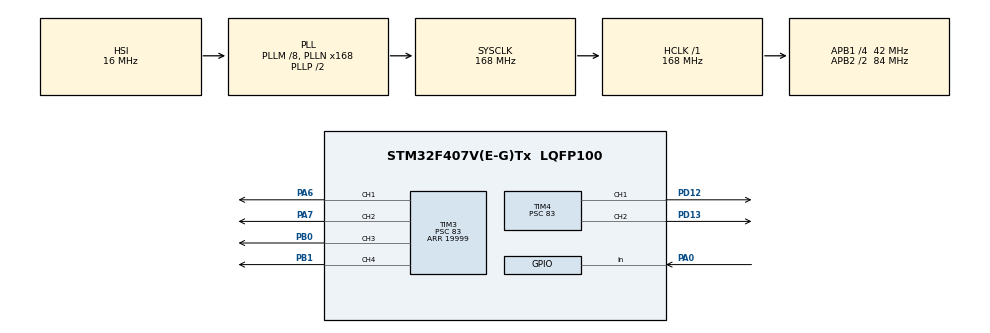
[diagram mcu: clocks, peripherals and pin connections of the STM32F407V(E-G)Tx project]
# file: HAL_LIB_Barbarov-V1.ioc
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Mcu.Family=STM32F4
Mcu.Name=STM32F407V(E-G)Tx
Mcu.Package=LQFP100
NVIC.PriorityGroup=NVIC_PRIORITYGROUP_4
PA0-WKUP.Signal=GPIO_Input
PA6.Signal=S_TIM3_CH1
PA7.Signal=S_TIM3_CH2
PB0.Signal=S_TIM3_CH3
PB1.Signal=S_TIM3_CH4
PD12.Signal=S_TIM4_CH1
PD13.Signal=S_TIM4_CH2
ProjectManager.HeapSize=0x200
ProjectManager.StackSize=0x400
ProjectManager.TargetToolchain=STM32CubeIDE
RCC.48MHZClocksFreq_Value=84000000
RCC.AHBFreq_Value=168000000
RCC.APB1CLKDivider=RCC_HCLK_DIV4
RCC.APB1Freq_Value=42000000
RCC.APB1TimFreq_Value=84000000
RCC.APB2CLKDivider=RCC_HCLK_DIV2
RCC.APB2Freq_Value=84000000
RCC.APB2TimFreq_Value=168000000
RCC.CortexFreq_Value=168000000
RCC.HCLKFreq_Value=168000000
RCC.HSE_VALUE=25000000
RCC.HSI_VALUE=16000000
RCC.LSE_VALUE=32768
RCC.PLLM=8
RCC.PLLN=168
RCC.SYSCLKFreq_VALUE=168000000
RCC.SYSCLKSource=RCC_SYSCLKSOURCE_PLLCLK
RCC.VCOOutputFreq_Value=336000000
SH.S_TIM3_CH1.0=TIM3_CH1,PWM Generation1 CH1
SH.S_TIM3_CH2.0=TIM3_CH2,PWM Generation2 CH2
SH.S_TIM3_CH3.0=TIM3_CH3,PWM Generation3 CH3
SH.S_TIM3_CH4.0=TIM3_CH4,PWM Generation4 CH4
SH.S_TIM4_CH1.0=TIM4_CH1,PWM Generation1 CH1
SH.S_TIM4_CH2.0=TIM4_CH2,PWM Generation2 CH2
TIM3.Channel-PWM\ Generation1\ CH1=TIM_CHANNEL_1
TIM3.Channel-PWM\ Generation2\ CH2=TIM_CHANNEL_2
TIM3.Channel-PWM\ Generation3\ CH3=TIM_CHANNEL_3
TIM3.Channel-PWM\ Generation4\ CH4=TIM_CHANNEL_4
TIM3.Period=19999
TIM3.Prescaler=83
TIM4.Channel-PWM\ Generation1\ CH1=TIM_CHANNEL_1
TIM4.Channel-PWM\ Generation2\ CH2=TIM_CHANNEL_2
TIM4.Period=19999
TIM4.Prescaler=83
board=custom

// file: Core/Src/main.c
/* USER CODE BEGIN Header */
/**
  ******************************************************************************
  * @file           : main.c
  * @brief          : Main program body
  ******************************************************************************
  * @attention
  *
  * Copyright (c) 2022 STMicroelectronics.
  * All rights reserved.
  *
  * This software is licensed under terms that can be found in the LICENSE file
  * in the root directory of this software component.
  * If no LICENSE file comes with this software, it is provided AS-IS.
  *
  ******************************************************************************
  */
/* USER CODE END Header */
#include "main.h"

TIM_HandleTypeDef htim3;
TIM_HandleTypeDef htim4;

/* USER CODE BEGIN PV */
uint8_t count;
/* USER CODE END PV */

void SystemClock_Config(void);
static void MX_GPIO_Init(void);
static void MX_TIM3_Init(void);
static void MX_TIM4_Init(void);

/* USER CODE BEGIN 0 */
void dur(){
	__HAL_TIM_SET_COMPARE(&htim3, TIM_CHANNEL_1, 1500);
	__HAL_TIM_SET_COMPARE(&htim3, TIM_CHANNEL_2, 1500);
	__HAL_TIM_SET_COMPARE(&htim3, TIM_CHANNEL_3, 1500);
	__HAL_TIM_SET_COMPARE(&htim3, TIM_CHANNEL_4, 1500);
	__HAL_TIM_SET_COMPARE(&htim4, TIM_CHANNEL_1, 1500);
	__HAL_TIM_SET_COMPARE(&htim4, TIM_CHANNEL_2, 1500);
}
void ileri(){
	__HAL_TIM_SET_COMPARE(&htim3, TIM_CHANNEL_1, 1400); // yanlış
	__HAL_TIM_SET_COMPARE(&htim3, TIM_CHANNEL_2, 1600);
	__HAL_TIM_SET_COMPARE(&htim3, TIM_CHANNEL_3, 1400);
	__HAL_TIM_SET_COMPARE(&htim3, TIM_CHANNEL_4, 1600); // yanlış
	__HAL_TIM_SET_COMPARE(&htim4, TIM_CHANNEL_1, 1500);
	__HAL_TIM_SET_COMPARE(&htim4, TIM_CHANNEL_2, 1500);
}
void geri(){
	__HAL_TIM_SET_COMPARE(&htim3, TIM_CHANNEL_1, 1600);
	__HAL_TIM_SET_COMPARE(&htim3, TIM_CHANNEL_2, 1400);
	__HAL_TIM_SET_COMPARE(&htim3, TIM_CHANNEL_3, 1600);
	__HAL_TIM_SET_COMPARE(&htim3, TIM_CHANNEL_4, 1400);
	__HAL_TIM_SET_COMPARE(&htim4, TIM_CHANNEL_1, 1500);
	__HAL_TIM_SET_COMPARE(&htim4, TIM_CHANNEL_2, 1500);
}
void yukari(){
	__HAL_TIM_SET_COMPARE(&htim3, TIM_CHANNEL_1, 1500);
	__HAL_TIM_SET_COMPARE(&htim3, TIM_CHANNEL_2, 1500);
	__HAL_TIM_SET_COMPARE(&htim3, TIM_CHANNEL_3, 1500);
	__HAL_TIM_SET_COMPARE(&htim3, TIM_CHANNEL_4, 1500);
	__HAL_TIM_SET_COMPARE(&htim4, TIM_CHANNEL_1, 1400); // yanlış
	__HAL_TIM_SET_COMPARE(&htim4, TIM_CHANNEL_2, 1400);
}
void asagi(){
	__HAL_TIM_SET_COMPARE(&htim3, TIM_CHANNEL_1, 1500);
	__HAL_TIM_SET_COMPARE(&htim3, TIM_CHANNEL_2, 1500);
	__HAL_TIM_SET_COMPARE(&htim3, TIM_CHANNEL_3, 1500);
	__HAL_TIM_SET_COMPARE(&htim3, TIM_CHANNEL_4, 1500);
	__HAL_TIM_SET_COMPARE(&htim4, TIM_CHANNEL_1, 1600); // yanlış
	__HAL_TIM_SET_COMPARE(&htim4, TIM_CHANNEL_2, 1400);
}
/* USER CODE END 0 */

int main(void)
{

  /* MCU Configuration--------------------------------------------------------*/

  /* Reset of all peripherals, Initializes the Flash interface and the Systick. */
  HAL_Init();

  /* Configure the system clock */
  SystemClock_Config();

  /* Initialize all configured peripherals */
  MX_GPIO_Init();
  MX_TIM3_Init();
  MX_TIM4_Init();
  /* USER CODE BEGIN 2 */
HAL_TIM_PWM_Start(&htim3, TIM_CHANNEL_1);
HAL_TIM_PWM_Start(&htim3, TIM_CHANNEL_2);
HAL_TIM_PWM_Start(&htim3, TIM_CHANNEL_3);
HAL_TIM_PWM_Start(&htim3, TIM_CHANNEL_4);
HAL_TIM_PWM_Start(&htim4, TIM_CHANNEL_1);
HAL_TIM_PWM_Start(&htim4, TIM_CHANNEL_2);
__HAL_TIM_SET_COMPARE(&htim3, TIM_CHANNEL_1, 1500);
__HAL_TIM_SET_COMPARE(&htim3, TIM_CHANNEL_2, 1500);
__HAL_TIM_SET_COMPARE(&htim3, TIM_CHANNEL_3, 1500);
__HAL_TIM_SET_COMPARE(&htim3, TIM_CHANNEL_4, 1500);
__HAL_TIM_SET_COMPARE(&htim4, TIM_CHANNEL_1, 1500);
__HAL_TIM_SET_COMPARE(&htim4, TIM_CHANNEL_2, 1500);
HAL_Delay(7000);
  /* USER CODE END 2 */

  /* Infinite loop */
  while (1)
  {

    /* USER CODE BEGIN 3 */
	  if(HAL_GPIO_ReadPin(GPIOA, GPIO_PIN_0))
	  {
		  while(HAL_GPIO_ReadPin(GPIOA, GPIO_PIN_0));
		  HAL_Delay(100);
		  count++;
	  }

	  if(count %8 == 0){
		  dur();
	  }
	  else if(count %8 == 1){
		  ileri();
	  }
	  else if(count %8 == 2){
		  dur();
	  }
	  else if (count %8 == 3){
		  geri();
	  }
	  else if (count %8 == 4){
		  dur();
	  }
	  else if(count %8 == 5){
		  yukari();
	  }
	  else if(count %8 == 6){
		  dur();
	  }
	  else if(count %8==7){
		  asagi();
	  }
  }
  /* USER CODE END 3 */
}

void SystemClock_Config(void)
{
  RCC_OscInitTypeDef RCC_OscInitStruct = {0};
  RCC_ClkInitTypeDef RCC_ClkInitStruct = {0};

  /** Configure the main internal regulator output voltage
  */
  __HAL_RCC_PWR_CLK_ENABLE();
  __HAL_PWR_VOLTAGESCALING_CONFIG(PWR_REGULATOR_VOLTAGE_SCALE1);
  /** Initializes the RCC Oscillators according to the specified parameters
  * in the RCC_OscInitTypeDef structure.
  */
  RCC_OscInitStruct.OscillatorType = RCC_OSCILLATORTYPE_HSI;
  RCC_OscInitStruct.HSIState = RCC_HSI_ON;
  RCC_OscInitStruct.HSICalibrationValue = RCC_HSICALIBRATION_DEFAULT;
  RCC_OscInitStruct.PLL.PLLState = RCC_PLL_ON;
  RCC_OscInitStruct.PLL.PLLSource = RCC_PLLSOURCE_HSI;
  RCC_OscInitStruct.PLL.PLLM = 8;
  RCC_OscInitStruct.PLL.PLLN = 168;
  RCC_OscInitStruct.PLL.PLLP = RCC_PLLP_DIV2;
  RCC_OscInitStruct.PLL.PLLQ = 4;
  if (HAL_RCC_OscConfig(&RCC_OscInitStruct) != HAL_OK)
  {
    Error_Handler();
  }
  /** Initializes the CPU, AHB and APB buses clocks
  */
  RCC_ClkInitStruct.ClockType = RCC_CLOCKTYPE_HCLK|RCC_CLOCKTYPE_SYSCLK
                              |RCC_CLOCKTYPE_PCLK1|RCC_CLOCKTYPE_PCLK2;
  RCC_ClkInitStruct.SYSCLKSource = RCC_SYSCLKSOURCE_PLLCLK;
  RCC_ClkInitStruct.AHBCLKDivider = RCC_SYSCLK_DIV1;
  RCC_ClkInitStruct.APB1CLKDivider = RCC_HCLK_DIV4;
  RCC_ClkInitStruct.APB2CLKDivider = RCC_HCLK_DIV2;

  if (HAL_RCC_ClockConfig(&RCC_ClkInitStruct, FLASH_LATENCY_5) != HAL_OK)
  {
    Error_Handler();
  }
}

static void MX_TIM3_Init(void)
{

  TIM_MasterConfigTypeDef sMasterConfig = {0};
  TIM_OC_InitTypeDef sConfigOC = {0};

  htim3.Instance = TIM3;
  htim3.Init.Prescaler = 83;
  htim3.Init.CounterMode = TIM_COUNTERMODE_UP;
  htim3.Init.Period = 19999;
  htim3.Init.ClockDivision = TIM_CLOCKDIVISION_DIV1;
  htim3.Init.AutoReloadPreload = TIM_AUTORELOAD_PRELOAD_DISABLE;
  if (HAL_TIM_PWM_Init(&htim3) != HAL_OK)
  {
    Error_Handler();
  }
  sMasterConfig.MasterOutputTrigger = TIM_TRGO_RESET;
  sMasterConfig.MasterSlaveMode = TIM_MASTERSLAVEMODE_DISABLE;
  if (HAL_TIMEx_MasterConfigSynchronization(&htim3, &sMasterConfig) != HAL_OK)
  {
    Error_Handler();
  }
  sConfigOC.OCMode = TIM_OCMODE_PWM1;
  sConfigOC.Pulse = 0;
  sConfigOC.OCPolarity = TIM_OCPOLARITY_HIGH;
  sConfigOC.OCFastMode = TIM_OCFAST_DISABLE;
  if (HAL_TIM_PWM_ConfigChannel(&htim3, &sConfigOC, TIM_CHANNEL_1) != HAL_OK)
  {
    Error_Handler();
  }
  if (HAL_TIM_PWM_ConfigChannel(&htim3, &sConfigOC, TIM_CHANNEL_2) != HAL_OK)
  {
    Error_Handler();
  }
  if (HAL_TIM_PWM_ConfigChannel(&htim3, &sConfigOC, TIM_CHANNEL_3) != HAL_OK)
  {
    Error_Handler();
  }
  if (HAL_TIM_PWM_ConfigChannel(&htim3, &sConfigOC, TIM_CHANNEL_4) != HAL_OK)
  {
    Error_Handler();
  }
  HAL_TIM_MspPostInit(&htim3);

}

static void MX_TIM4_Init(void)
{

  TIM_MasterConfigTypeDef sMasterConfig = {0};
  TIM_OC_InitTypeDef sConfigOC = {0};

  htim4.Instance = TIM4;
  htim4.Init.Prescaler = 83;
  htim4.Init.CounterMode = TIM_COUNTERMODE_UP;
  htim4.Init.Period = 19999;
  htim4.Init.ClockDivision = TIM_CLOCKDIVISION_DIV1;
  htim4.Init.AutoReloadPreload = TIM_AUTORELOAD_PRELOAD_DISABLE;
  if (HAL_TIM_PWM_Init(&htim4) != HAL_OK)
  {
    Error_Handler();
  }
  sMasterConfig.MasterOutputTrigger = TIM_TRGO_RESET;
  sMasterConfig.MasterSlaveMode = TIM_MASTERSLAVEMODE_DISABLE;
  if (HAL_TIMEx_MasterConfigSynchronization(&htim4, &sMasterConfig) != HAL_OK)
  {
    Error_Handler();
  }
  sConfigOC.OCMode = TIM_OCMODE_PWM1;
  sConfigOC.Pulse = 0;
  sConfigOC.OCPolarity = TIM_OCPOLARITY_HIGH;
  sConfigOC.OCFastMode = TIM_OCFAST_DISABLE;
  if (HAL_TIM_PWM_ConfigChannel(&htim4, &sConfigOC, TIM_CHANNEL_1) != HAL_OK)
  {
    Error_Handler();
  }
  if (HAL_TIM_PWM_ConfigChannel(&htim4, &sConfigOC, TIM_CHANNEL_2) != HAL_OK)
  {
    Error_Handler();
  }
  HAL_TIM_MspPostInit(&htim4);

}

static void MX_GPIO_Init(void)
{
  GPIO_InitTypeDef GPIO_InitStruct = {0};

  /* GPIO Ports Clock Enable */
  __HAL_RCC_GPIOA_CLK_ENABLE();
  __HAL_RCC_GPIOB_CLK_ENABLE();
  __HAL_RCC_GPIOD_CLK_ENABLE();

  /*Configure GPIO pin : PA0 */
  GPIO_InitStruct.Pin = GPIO_PIN_0;
  GPIO_InitStruct.Mode = GPIO_MODE_INPUT;
  GPIO_InitStruct.Pull = GPIO_NOPULL;
  HAL_GPIO_Init(GPIOA, &GPIO_InitStruct);

}

void Error_Handler(void)
{
  __disable_irq();
  while (1)
  {
  }
}
